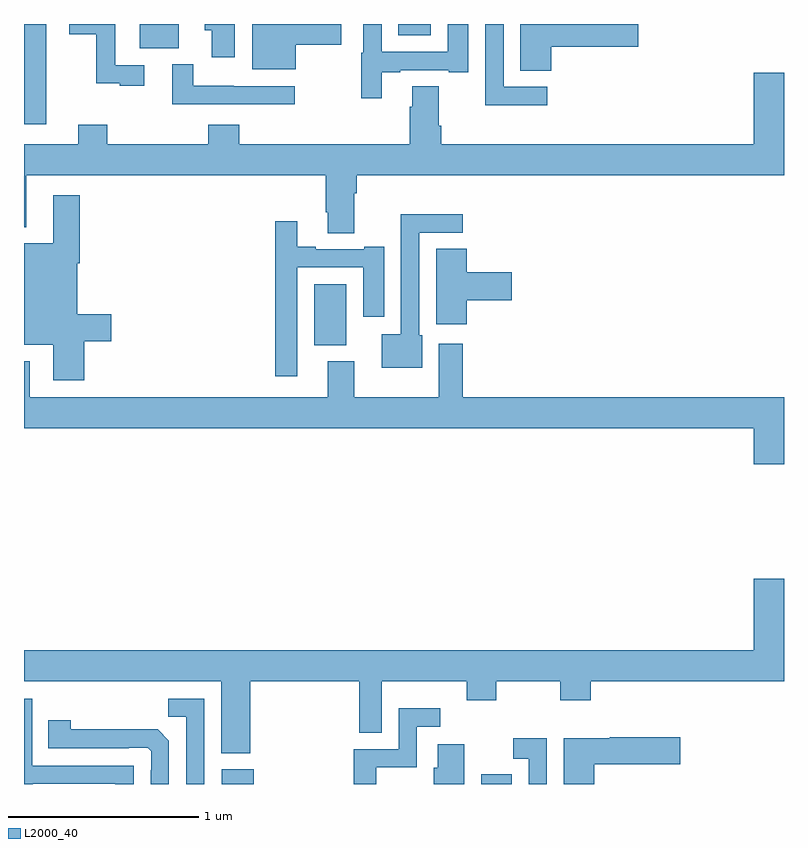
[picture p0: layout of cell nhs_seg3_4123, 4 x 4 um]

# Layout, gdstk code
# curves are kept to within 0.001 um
import gdstk
lib = gdstk.Library(unit=1e-6, precision=1e-09)
def R(c, l, rs):  # rectangles x0, y0, x1, y1
    for r in rs: c.add(gdstk.rectangle(r[:2], r[2:], *l))
def P(c, l, *ps):  # polygons
    for p in ps: c.add(gdstk.Polygon(p, *l))
L2000_40 = (2000, 40)

nhs_seg3_4123 = lib.new_cell('nhs_seg3_4123')
R(nhs_seg3_4123, L2000_40, [(330.041,676.4,330.208,676.477), (331.406,676.4,331.567,676.452), (330.527,678.71,330.697,679.03), (329,679.872,329.116,680.4), (329.609,680.273,329.815,680.4), (330.971,680.342,331.141,680.4)])
P(nhs_seg3_4123, L2000_40, [(330.43,680.291),(330.67,680.291),(330.67,680.4),(330.2,680.4),(330.2,680.162),(330.43,680.162)],
  [(330.883,680.145),(330.979,680.145),(330.979,680.157),(331.235,680.157),(331.235,680.145),(331.339,680.145),(331.339,680.4),(331.229,680.4),(331.229,680.253),(330.882,680.253),(330.882,680.4),(330.786,680.4),(330.786,680.25),(330.774,680.25),(330.774,680.01),(330.883,680.01)],
  [(331.775,680.279),(332.233,680.279),(332.233,680.4),(331.613,680.4),(331.613,680.155),(331.775,680.155)],
  [(329.632,680.184),(329.481,680.184),(329.481,680.4),(329.238,680.4),(329.238,680.347),(329.38,680.347),(329.38,680.087),(329.504,680.087),(329.504,680.076),(329.632,680.076)],
  [(330.109,680.4),(329.951,680.4),(329.951,680.368),(329.987,680.368),(329.987,680.226),(330.109,680.226)],
  [(331.753,680.07),(331.524,680.07),(331.524,680.4),(331.428,680.4),(331.428,679.973),(331.753,679.973)],
  [(330.424,680.073),(330.104,680.073),(330.104,680.074),(329.89,680.074),(329.89,680.188),(329.78,680.188),(329.78,679.977),(330.424,679.977)],
  [(330.739,679.508),(330.752,679.508),(330.752,679.604),(333,679.604),(333,680.143),(332.84,680.143),(332.84,679.768),(331.196,679.768),(331.196,679.864),(331.183,679.864),(331.183,680.072),(331.043,680.072),(331.043,679.964),(331.031,679.964),(331.031,679.768),(330.134,679.768),(330.134,679.87),(329.969,679.87),(329.969,679.768),(329.438,679.768),(329.438,679.87),(329.285,679.87),(329.285,679.768),(329,679.768),(329,679.331),(329.011,679.331),(329.011,679.604),(330.587,679.604),(330.587,679.408),(330.599,679.408),(330.599,679.3),(330.739,679.3)],
  [(329.318,678.73),(329.458,678.73),(329.458,678.872),(329.281,678.872),(329.281,679.142),(329.294,679.142),(329.294,679.498),(329.153,679.498),(329.153,679.246),(329,679.246),(329,678.711),(329.153,678.711),(329.153,678.525),(329.318,678.525)],
  [(331.096,678.762),(331.08,678.762),(331.08,679.302),(331.309,679.302),(331.309,679.4),(330.984,679.4),(330.984,678.766),(330.884,678.766),(330.884,678.59),(331.096,678.59)],
  [(330.438,679.119),(330.785,679.119),(330.785,678.858),(330.895,678.858),(330.895,679.228),(330.791,679.228),(330.791,679.215),(330.535,679.215),(330.535,679.228),(330.439,679.228),(330.439,679.363),(330.322,679.363),(330.322,678.546),(330.438,678.546)],
  [(331.331,678.947),(331.567,678.947),(331.567,679.094),(331.331,679.094),(331.331,679.217),(331.169,679.217),(331.169,678.819),(331.331,678.819)],
  [(333,678.436),(331.31,678.436),(331.31,678.718),(331.184,678.718),(331.184,678.436),(330.739,678.436),(330.739,678.625),(330.599,678.625),(330.599,678.436),(329.029,678.436),(329.029,678.626),(329,678.626),(329,678.272),(332.84,678.272),(332.84,678.084),(333,678.084)],
  [(330.191,676.94),(330.765,676.94),(330.765,676.669),(330.883,676.669),(330.883,676.94),(331.33,676.94),(331.33,676.841),(331.485,676.841),(331.485,676.94),(331.822,676.94),(331.822,676.841),(331.982,676.841),(331.982,676.94),(333,676.94),(333,677.479),(332.84,677.479),(332.84,677.104),(329,677.104),(329,676.94),(330.038,676.94),(330.038,676.562),(330.191,676.562)],
  [(329.045,676.401),(329.481,676.401),(329.481,676.4),(329.577,676.4),(329.577,676.497),(329.043,676.497),(329.043,676.848),(329,676.848),(329,676.4),(329.045,676.4)],
  [(329.949,676.848),(329.758,676.848),(329.758,676.753),(329.853,676.753),(329.853,676.4),(329.949,676.4)],
  [(330.853,676.488),(331.068,676.488),(331.068,676.701),(331.192,676.701),(331.192,676.798),(330.972,676.798),(330.972,676.584),(330.735,676.584),(330.735,676.4),(330.853,676.4)],
  [(329.763,676.628),(329.704,676.687),(329.247,676.688),(329.247,676.735),(329.128,676.735),(329.128,676.587),(329.552,676.587),(329.552,676.59),(329.652,676.59),(329.67,676.572),(329.67,676.472),(329.667,676.472),(329.667,676.4),(329.763,676.4)],
  [(332,676.505),(332.455,676.505),(332.455,676.647),(332.083,676.647),(332.083,676.642),(331.841,676.642),(331.841,676.4),(332,676.4)],
  [(331.752,676.642),(331.575,676.642),(331.575,676.533),(331.656,676.533),(331.656,676.4),(331.752,676.4)],
  [(331.318,676.609),(331.178,676.609),(331.178,676.485),(331.157,676.485),(331.157,676.4),(331.318,676.4)])

lib.write_gds('nhs_seg3_4123.gds')
